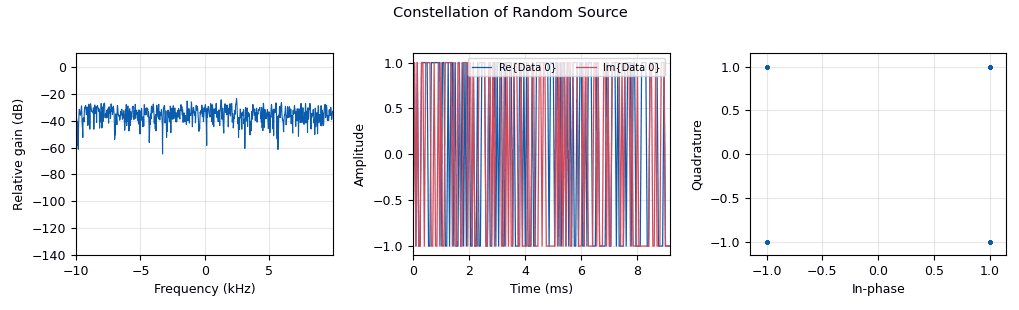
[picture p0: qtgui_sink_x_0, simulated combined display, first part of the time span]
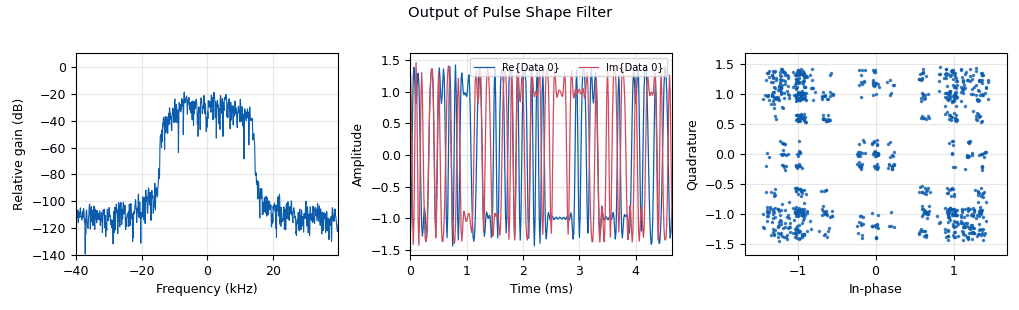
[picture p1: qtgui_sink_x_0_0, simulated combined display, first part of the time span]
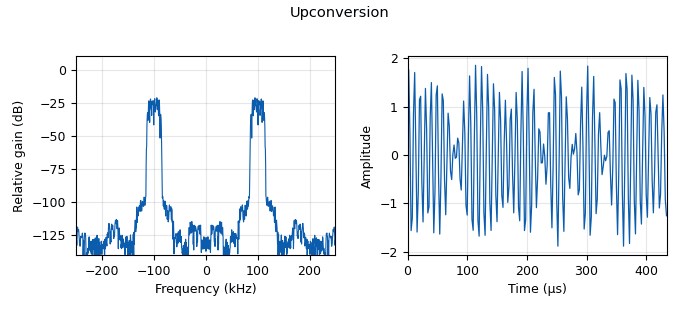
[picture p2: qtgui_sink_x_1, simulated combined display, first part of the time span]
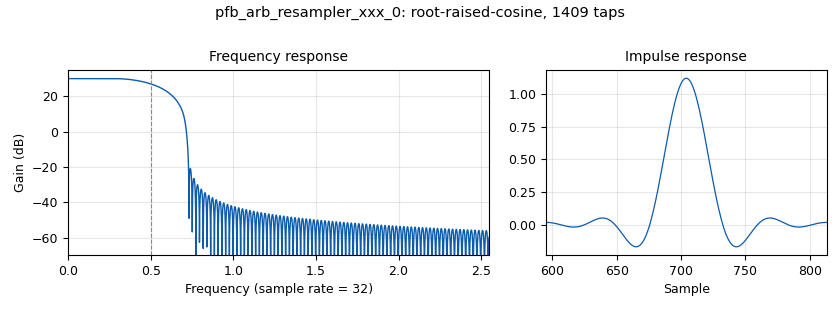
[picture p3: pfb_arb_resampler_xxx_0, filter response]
options:
  parameters:
    author: vinam
    generate_options: qt_gui
    id: lab6_task1
    output_language: python
    title: Lab 6 Task 1
  states: {}

blocks:
- name: const_points
  id: variable
  parameters:
    value: '4'
  states: {}
- name: excess_bw
  id: variable
  parameters:
    value: '0.45'
  states: {}
- name: new_samp_rate
  id: variable
  parameters:
    value: '500000'
  states: {}
- name: nfilts
  id: variable
  parameters:
    value: '32'
  states: {}
- name: ntaps
  id: variable
  parameters:
    value: 11*nfilts*sps
  states: {}
- name: samp_rate
  id: variable
  parameters:
    value: '20000'
  states: {}
- name: sps
  id: variable
  parameters:
    value: '4'
  states: {}
- name: tx_taps
  id: variable
  parameters:
    value: firdes.root_raised_cosine(nfilts,nfilts,1.0,excess_bw,ntaps)
  states: {}
- name: analog_random_source_x_0
  id: analog_random_source_x
  parameters:
    max: const_points
    min: '0'
    num_samps: '1000'
    repeat: 'True'
    type: byte
  states: {}
- name: analog_sig_source_x_0
  id: analog_sig_source_x
  parameters:
    amp: '1'
    freq: '100000'
    offset: '0'
    phase: '0'
    samp_rate: new_samp_rate
    type: complex
    waveform: analog.GR_COS_WAVE
  states: {}
- name: blocks_complex_to_real_0
  id: blocks_complex_to_real
  parameters: {}
  states: {}
- name: blocks_file_sink_0
  id: blocks_file_sink
  parameters:
    file: C:\Users\vinam\Documents\Semester_5\EE 340\Lab6\task1.bin
    type: float
  states: {}
- name: blocks_multiply_xx_0
  id: blocks_multiply_xx
  parameters:
    type: complex
  states: {}
- name: blocks_throttle_0
  id: blocks_throttle
  parameters:
    samples_per_second: samp_rate
    type: complex
  states: {}
- name: blocks_throttle_0_0
  id: blocks_throttle
  parameters:
    samples_per_second: samp_rate*sps
    type: complex
  states: {}
- name: blocks_throttle_0_0_0
  id: blocks_throttle
  parameters:
    samples_per_second: new_samp_rate
    type: float
  states: {}
- name: digital_chunks_to_symbols_xx_0
  id: digital_chunks_to_symbols_xx
  parameters:
    dimension: '1'
    in_type: byte
    out_type: complex
    symbol_table: ((1-1j),(1+1j),(-1+1j),(-1-1j))
  states: {}
- name: import_0
  id: import
  parameters:
    imports: from math import pi as pi
  states: {}
- name: import_1
  id: import
  parameters:
    imports: from gnuradio import digital
  states: {}
- name: import_2
  id: import
  parameters:
    imports: from gnuradio.filter import firdes
  states: {}
- name: pfb_arb_resampler_xxx_0
  id: pfb_arb_resampler_xxx
  parameters:
    atten: '100'
    nfilts: '32'
    rrate: sps
    taps: tx_taps
    type: ccf
  states: {}
- name: qtgui_sink_x_0
  id: qtgui_sink_x
  parameters:
    bw: samp_rate
    fc: '0'
    fftsize: '1024'
    gui_hint: tab_widget@0
    name: Constellation of Random Source
    type: complex
    wintype: firdes.WIN_BLACKMAN_hARRIS
  states: {}
- name: qtgui_sink_x_0_0
  id: qtgui_sink_x
  parameters:
    bw: samp_rate*sps
    fc: '0'
    fftsize: '1024'
    gui_hint: tab_widget@1
    name: Output of Pulse Shape Filter
    type: complex
    wintype: firdes.WIN_BLACKMAN_hARRIS
  states: {}
- name: qtgui_sink_x_1
  id: qtgui_sink_x
  parameters:
    bw: new_samp_rate
    fc: '0'
    fftsize: '1024'
    gui_hint: tab_widget@2
    name: Upconversion
    type: float
    wintype: firdes.WIN_BLACKMAN_hARRIS
  states: {}
- name: rational_resampler_xxx_0
  id: rational_resampler_xxx
  parameters:
    decim: samp_rate*sps
    interp: new_samp_rate
    taps: ''
    type: ccc
  states: {}
- name: tab_widget
  id: qtgui_tab_widget
  parameters:
    label0: Random Source
    label1: Pulse Shaped FIlter
    label2: Upconversion
    num_tabs: '3'
  states: {}

connections:
- [analog_random_source_x_0, '0', digital_chunks_to_symbols_xx_0, '0']
- [analog_sig_source_x_0, '0', blocks_multiply_xx_0, '1']
- [blocks_complex_to_real_0, '0', blocks_throttle_0_0_0, '0']
- [blocks_multiply_xx_0, '0', blocks_complex_to_real_0, '0']
- [blocks_throttle_0, '0', qtgui_sink_x_0, '0']
- [blocks_throttle_0_0, '0', qtgui_sink_x_0_0, '0']
- [blocks_throttle_0_0_0, '0', blocks_file_sink_0, '0']
- [blocks_throttle_0_0_0, '0', qtgui_sink_x_1, '0']
- [digital_chunks_to_symbols_xx_0, '0', blocks_throttle_0, '0']
- [digital_chunks_to_symbols_xx_0, '0', pfb_arb_resampler_xxx_0, '0']
- [pfb_arb_resampler_xxx_0, '0', blocks_throttle_0_0, '0']
- [pfb_arb_resampler_xxx_0, '0', rational_resampler_xxx_0, '0']
- [rational_resampler_xxx_0, '0', blocks_multiply_xx_0, '0']

metadata:
  file_format: 1
